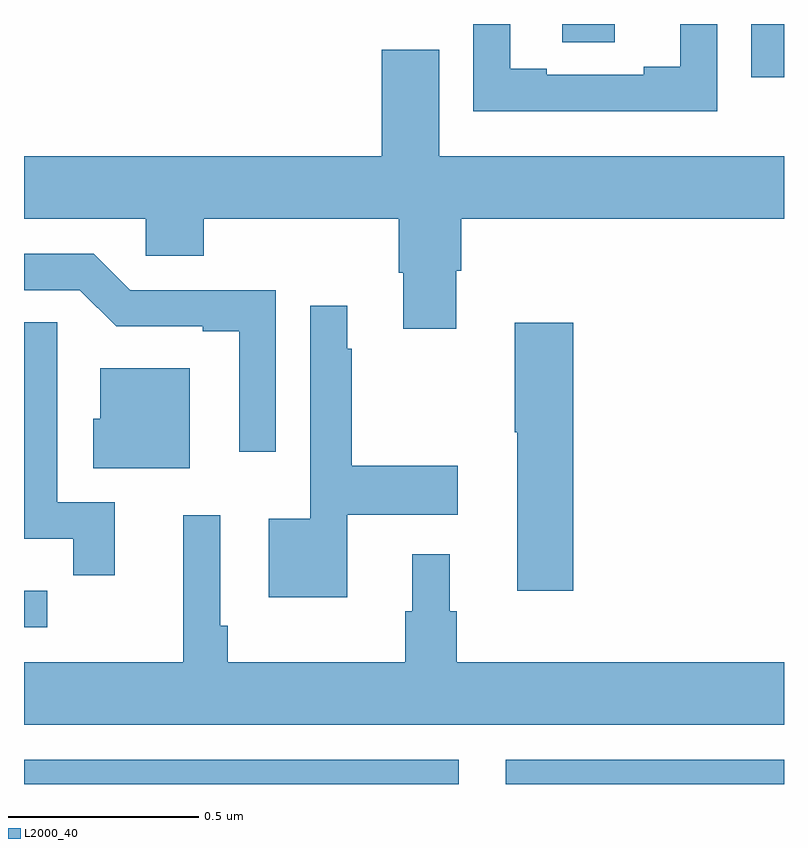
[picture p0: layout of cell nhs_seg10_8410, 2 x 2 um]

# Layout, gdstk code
import gdstk
lib = gdstk.Library(unit=1e-6, precision=1e-09)
def R(c, l, rs):  # rectangles x0, y0, x1, y1
    for r in rs: c.add(gdstk.rectangle(r[:2], r[2:], *l))
def P(c, l, *ps):  # polygons
    for p in ps: c.add(gdstk.Polygon(p, *l))
L2000_40 = (2000, 40)

nhs_seg10_8410 = lib.new_cell('nhs_seg10_8410')
R(nhs_seg10_8410, L2000_40, [(216,1293.5,217.144,1293.564), (217.268,1293.5,218,1293.564), (216,1293.912,216.061,1294.008), (217.914,1295.36,218,1295.5), (217.416,1295.452,217.555,1295.5)])
P(nhs_seg10_8410, L2000_40, [(217.824,1295.5),(217.727,1295.5),(217.727,1295.387),(217.631,1295.387),(217.631,1295.367),(217.375,1295.367),(217.375,1295.382),(217.279,1295.382),(217.279,1295.5),(217.182,1295.5),(217.182,1295.271),(217.824,1295.271)],
  [(216.941,1295.432),(216.941,1295.152),(216,1295.152),(216,1294.988),(216.321,1294.988),(216.321,1294.89),(216.473,1294.89),(216.473,1294.988),(216.986,1294.988),(216.986,1294.846),(216.998,1294.846),(216.998,1294.698),(217.138,1294.698),(217.138,1294.851),(217.151,1294.851),(217.151,1294.988),(218,1294.988),(218,1295.152),(217.093,1295.152),(217.093,1295.432)],
  [(216.663,1294.8),(216.279,1294.8),(216.183,1294.896),(216,1294.896),(216,1294.8),(216.147,1294.8),(216.243,1294.704),(216.47,1294.704),(216.47,1294.692),(216.566,1294.692),(216.566,1294.374),(216.663,1294.374)],
  [(216.85,1294.208),(217.141,1294.208),(217.141,1294.338),(216.862,1294.338),(216.862,1294.646),(216.85,1294.646),(216.85,1294.759),(216.753,1294.759),(216.753,1294.198),(216.644,1294.198),(216.644,1293.992),(216.85,1293.992)],
  [(216.239,1294.242),(216.088,1294.242),(216.088,1294.604),(216.087,1294.604),(216.087,1294.715),(216,1294.715),(216,1294.146),(216.13,1294.146),(216.13,1294.05),(216.239,1294.05)],
  [(217.445,1294.714),(217.291,1294.714),(217.291,1294.426),(217.298,1294.426),(217.298,1294.008),(217.445,1294.008)],
  [(216.436,1294.594),(216.2,1294.594),(216.2,1294.461),(216.182,1294.461),(216.182,1294.331),(216.436,1294.331)],
  [(218,1293.82),(217.139,1293.82),(217.139,1293.954),(217.12,1293.954),(217.12,1294.105),(217.022,1294.105),(217.022,1293.954),(217.003,1293.954),(217.003,1293.82),(216.536,1293.82),(216.536,1293.916),(216.516,1293.916),(216.516,1294.207),(216.419,1294.207),(216.419,1293.82),(216,1293.82),(216,1293.656),(218,1293.656)])

lib.write_gds('nhs_seg10_8410.gds')
